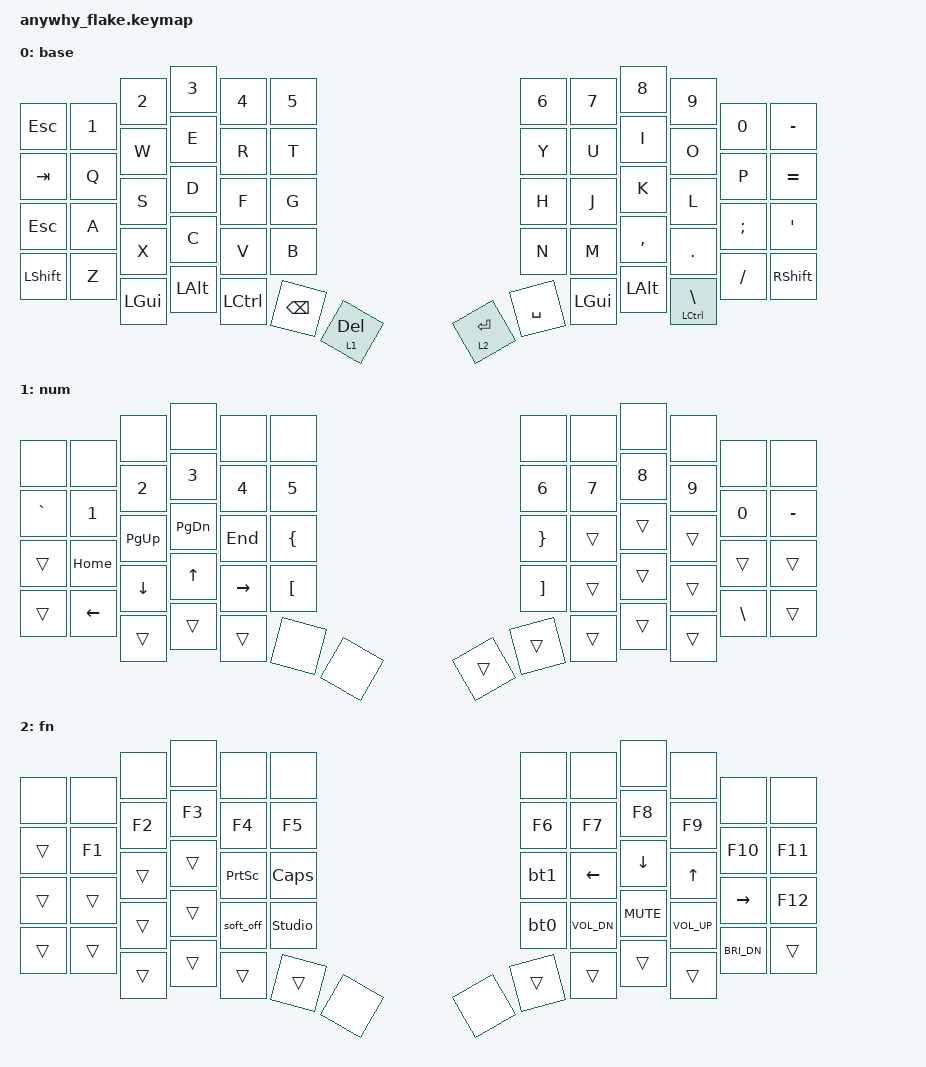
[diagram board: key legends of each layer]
#include <behaviors.dtsi>
#include <dt-bindings/zmk/bt.h>
#include <dt-bindings/zmk/keys.h>

/ {
    combos {
        compatible = "zmk,combos";

        bt_sel_3 {
            bindings = <&bt3>;
            key-positions = <42 30>;
            layers = <2>;
        };

        bt_sel_4 {
            bindings = <&bt4>;
            key-positions = <30 18>;
            layers = <2>;
        };
    };

    macros {
        bt_clr_0: bt_clr_0 {
            compatible = "zmk,behavior-macro";
            #binding-cells = <0>;
            bindings = <&bt BT_SEL 0 &bt BT_CLR>;
            label = "BT_CLR_0";
        };

        bt_clr_1: bt_clr_1 {
            compatible = "zmk,behavior-macro";
            #binding-cells = <0>;
            bindings = <&bt BT_SEL 1 &bt BT_CLR>;
            label = "BT_CLR_1";
        };

        bt_clr_2: bt_clr_2 {
            compatible = "zmk,behavior-macro";
            #binding-cells = <0>;
            bindings = <&bt BT_SEL 2 &bt BT_CLR>;
            label = "BT_CLR_2";
        };

        bt_clr_3: bt_clr_3 {
            compatible = "zmk,behavior-macro";
            #binding-cells = <0>;
            bindings = <&bt BT_SEL 3 &bt BT_CLR>;
            label = "BT_CLR_3";
        };

        bt_clr_4: bt_clr_4 {
            compatible = "zmk,behavior-macro";
            #binding-cells = <0>;
            bindings = <&bt BT_SEL 4 &bt BT_CLR>;
            label = "BT_CLR_4";
        };
    };

    behaviors {
        bt0: bt0 {
            compatible = "zmk,behavior-mod-morph";
            label = "BT0";
            bindings = <&bt BT_SEL 0>, <&bt_clr_0>;

            #binding-cells = <0>;
            mods = <(MOD_LSFT|MOD_RSFT)>;
        };

        bt1: bt1 {
            compatible = "zmk,behavior-mod-morph";
            label = "BT1";
            bindings = <&bt BT_SEL 1>, <&bt_clr_1>;

            #binding-cells = <0>;
            mods = <(MOD_LSFT|MOD_RSFT)>;
        };

        bt2: bt2 {
            compatible = "zmk,behavior-mod-morph";
            label = "BT2";
            bindings = <&bt BT_SEL 2>, <&bt_clr_2>;

            #binding-cells = <0>;
            mods = <(MOD_LSFT|MOD_RSFT)>;
        };

        bt3: bt3 {
            compatible = "zmk,behavior-mod-morph";
            label = "BT3";
            bindings = <&bt BT_SEL 3>, <&bt_clr_3>;

            #binding-cells = <0>;
            mods = <(MOD_LSFT|MOD_RSFT)>;
        };

        bt4: bt4 {
            compatible = "zmk,behavior-mod-morph";
            label = "BT4";
            bindings = <&bt BT_SEL 4>, <&bt_clr_4>;

            #binding-cells = <0>;
            mods = <(MOD_LSFT|MOD_RSFT)>;
        };
    };

    keymap {
        compatible = "zmk,keymap";

        base {
            bindings = <
&kp ESC   &kp N1 &kp N2    &kp N3    &kp N4     &kp N5                  &kp N6       &kp N7     &kp N8     &kp N9     &kp N0     &kp MINUS
&kp TAB   &kp Q  &kp W     &kp E     &kp R      &kp T                   &kp Y        &kp U      &kp I      &kp O      &kp P      &kp EQUAL
&kp ESC   &kp A  &kp S     &kp D     &kp F      &kp G                   &kp H        &kp J      &kp K      &kp L      &kp SEMI   &kp APOS
&kp LSHFT &kp Z  &kp X     &kp C     &kp V      &kp B                   &kp N        &kp M      &kp COMMA  &kp DOT    &kp FSLH   &kp RSHFT
                 &kp LGUI  &kp LALT  &kp LCTRL  &kp BACKSPACE &lt 1 DEL &lt 2 ENTER  &kp SPACE  &kp LGUI   &kp LALT   &mt LCTRL BSLH
            >;
        };

        num {
            bindings = <
&none      &none     &none       &none      &none      &none           &none     &none    &none    &none    &none     &none
&kp GRAVE  &kp N1    &kp N2      &kp N3     &kp N4     &kp N5          &kp N6    &kp N7   &kp N8   &kp N9   &kp N0    &kp MINUS
&trans     &kp HOME  &kp PG_UP   &kp PG_DN  &kp END    &kp LBRC        &kp RBRC  &trans   &trans   &trans   &trans    &trans
&trans     &kp LEFT  &kp DOWN    &kp UP     &kp RIGHT  &kp LBKT        &kp RBKT  &trans   &trans   &trans   &kp BSLH  &trans
                     &trans      &trans     &trans     &none   &none &trans    &trans   &trans   &trans   &trans
            >;
        };

        fn {
            bindings = <
&none   &none   &none   &none   &none      &none                 &none   &none         &none       &none         &none         &none
&trans  &kp F1  &kp F2  &kp F3  &kp F4     &kp F5                &kp F6  &kp F7        &kp F8      &kp F9        &kp F10       &kp F11
&trans  &trans  &trans  &trans  &kp PSCRN  &kp CAPS              &bt1    &kp LEFT      &kp DOWN    &kp UP        &kp RIGHT     &kp F12
&trans  &trans  &trans  &trans  &soft_off  &studio_unlock        &bt0    &kp C_VOL_DN  &kp C_MUTE  &kp C_VOL_UP  &kp C_BRI_DN  &trans
                &trans  &trans  &trans     &trans         &none  &none    &trans        &trans      &trans        &trans
            >;
        };
    };
};
